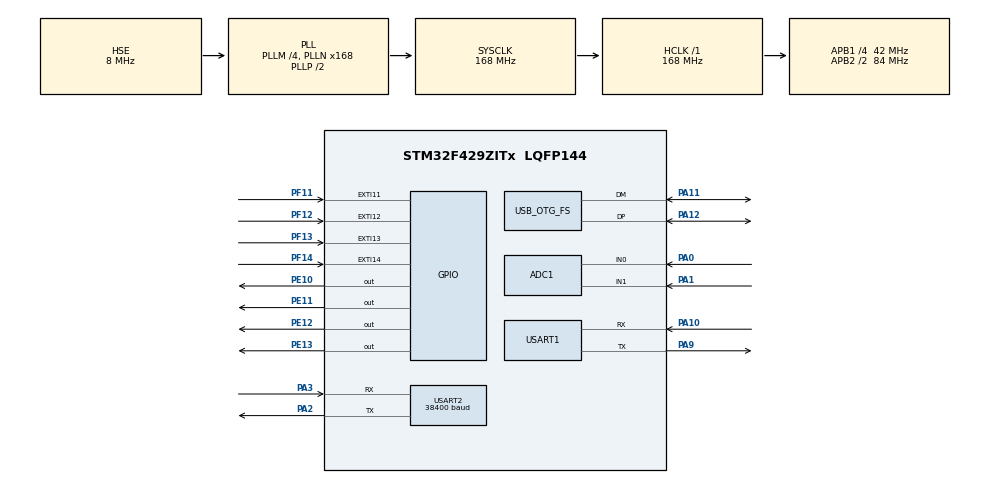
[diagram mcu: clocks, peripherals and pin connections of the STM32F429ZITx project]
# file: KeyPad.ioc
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Mcu.Family=STM32F4
USB_DEVICE.CLASS_NAME_FS=CUSTOM_HID
VP_SYS_VS_tim6.Mode=TIM6
RCC.CortexFreq_Value=168000000
NVIC.TIM6_DAC_IRQn=true\:0\:0\:false\:false\:true\:false\:false\:true
VP_USB_DEVICE_VS_USB_DEVICE_CUSTOM_HID_FS.Mode=CUSTOM_HID_FS
PA11.Mode=Device_Only
PA0/WKUP.Signal=ADCx_IN0
PE10.GPIO_PuPd=GPIO_PULLDOWN
Dma.USART2_RX.1.MemDataAlignment=DMA_MDATAALIGN_BYTE
RCC.SYSCLKSource=RCC_SYSCLKSOURCE_PLLCLK
ProjectManager.StackSize=0x600
VP_FREERTOS_VS_CMSIS_V2.Mode=CMSIS_V2
PA12.Signal=USB_OTG_FS_DP
PE11.GPIO_PuPd=GPIO_PULLDOWN
PF11.GPIO_PuPd=GPIO_PULLDOWN
PH0/OSC_IN.Mode=HSE-External-Clock-Source
RCC.HCLKFreq_Value=168000000
RCC.APB2TimFreq_Value=168000000
Dma.ADC1.0.Direction=DMA_PERIPH_TO_MEMORY
PF12.Signal=GPXTI12
PH1/OSC_OUT.Signal=RCC_OSC_OUT
Dma.USART2_RX.1.PeriphInc=DMA_PINC_DISABLE
NVIC.DMA2_Stream0_IRQn=true\:5\:0\:false\:false\:true\:true\:false\:true
Dma.USART2_RX.1.MemInc=DMA_MINC_ENABLE
Dma.ADC1.0.MemDataAlignment=DMA_MDATAALIGN_WORD
RCC.AHBFreq_Value=168000000
NVIC.EXTI15_10_IRQn=true\:5\:0\:false\:false\:true\:true\:true\:true
ADC1.Channel-0\#ChannelRegularConversion=ADC_CHANNEL_0
RCC.HSE_VALUE=8000000
PB3.Mode=Trace_Asynchronous_SW
ADC1.ScanConvMode=ENABLE
PE13.GPIO_PuPd=GPIO_PULLDOWN
TIM8.Channel-Output\ Compare1\ No\ Output=TIM_CHANNEL_1
PE13.Signal=GPIO_Output
PA14.Mode=Trace_Asynchronous_SW
PF11.Signal=GPXTI11
Dma.ADC1.0.PeriphInc=DMA_PINC_DISABLE
SH.ADCx_IN0.0=ADC1_IN0,IN0
PE10.GPIO_Speed=GPIO_SPEED_FREQ_HIGH
PH1/OSC_OUT.Mode=HSE-External-Clock-Source
PE10.Signal=GPIO_Output
PF14.GPIO_PuPd=GPIO_PULLDOWN
ADC1.SamplingTime-0\#ChannelRegularConversion=ADC_SAMPLETIME_3CYCLES
Mcu.Package=LQFP144
NVIC.TimeBase=TIM6_DAC_IRQn
USART2.VirtualMode=VM_ASYNC
USB_DEVICE.USBD_CUSTOM_HID_REPORT_DESC_SIZE-CUSTOM_HID_FS=187
NVIC.OTG_FS_IRQn=true\:5\:0\:false\:false\:true\:true\:false\:true
NVIC.TimeBaseIP=TIM6
PA10.Signal=USART1_RX
USB_OTG_FS.VirtualMode=Device_Only
PE12.GPIO_Speed=GPIO_SPEED_FREQ_HIGH
TIM8.Prescaler=168-1
RCC.APB2CLKDivider=RCC_HCLK_DIV2
SH.ADCx_IN1.0=ADC1_IN1,IN1
PF14.Signal=GPXTI14
Dma.Request1=USART2_RX
RCC.APB1TimFreq_Value=84000000
Dma.ADC1.0.FIFOMode=DMA_FIFOMODE_DISABLE
Dma.USART2_RX.1.Mode=DMA_CIRCULAR
Dma.Request0=ADC1
PA3.Signal=USART2_RX
PE12.GPIO_PuPd=GPIO_PULLDOWN
Dma.USART2_RX.1.Priority=DMA_PRIORITY_LOW
Dma.ADC1.0.Instance=DMA2_Stream0
FREERTOS.Tasks01=defaultTask,24,128,StartDefaultTask,Default,NULL,Dynamic,NULL,NULL
ADC1.Rank-0\#ChannelRegularConversion=1
Dma.USART2_RX.1.FIFOMode=DMA_FIFOMODE_DISABLE
PA10.Mode=Asynchronous
USB_DEVICE.VirtualModeFS=Custom_Hid_FS
PE11.GPIO_Speed=GPIO_SPEED_FREQ_HIGH
RCC.APB1CLKDivider=RCC_HCLK_DIV4
NVIC.USART2_IRQn=true\:5\:0\:false\:false\:true\:true\:true\:true
USART2.BaudRate=38400
PA13.Signal=SYS_JTMS-SWDIO
PA3.Mode=Asynchronous
Dma.ADC1.0.PeriphDataAlignment=DMA_PDATAALIGN_WORD
PA9.Mode=Asynchronous
NVIC.TIM8_CC_IRQn=true\:5\:0\:false\:false\:true\:true\:true\:true
ProjectManager.TargetToolchain=STM32CubeIDE
NVIC.DMA1_Stream5_IRQn=true\:5\:0\:false\:false\:true\:true\:false\:true
Dma.ADC1.0.Mode=DMA_CIRCULAR
Dma.ADC1.0.Priority=DMA_PRIORITY_LOW
PA9.Signal=USART1_TX
ADC1.Channel-1\#ChannelRegularConversion=ADC_CHANNEL_1
VP_TIM8_VS_ClockSourceINT.Mode=Internal
PE11.Signal=GPIO_Output
RCC.LSE_VALUE=32768
PA1.Signal=ADCx_IN1
Dma.USART2_RX.1.Instance=DMA1_Stream5
Dma.USART2_RX.1.Direction=DMA_PERIPH_TO_MEMORY
VP_TIM8_VS_no_output1.Mode=Output Compare1 No Output
Dma.USART2_RX.1.PeriphDataAlignment=DMA_PDATAALIGN_BYTE
board=STM32F429I-DISC1
RCC.VCOOutputFreq_Value=336000000
PF13.GPIO_PuPd=GPIO_PULLDOWN
PH0/OSC_IN.Signal=RCC_OSC_IN
RCC.APB2Freq_Value=84000000
PF13.Signal=GPXTI13
ADC1.DMAContinuousRequests=ENABLE
ADC1.NbrOfConversion=2
PA13.Mode=Trace_Asynchronous_SW
Mcu.Name=STM32F429ZITx
PE12.Signal=GPIO_Output
PA2.Signal=USART2_TX
ADC1.ExternalTrigConv=ADC_EXTERNALTRIGCONV_T8_TRGO
TIM8.Period=6500
RCC.48MHZClocksFreq_Value=48000000
PB3.Signal=SYS_JTDO-SWO
ADC1.SamplingTime-1\#ChannelRegularConversion=ADC_SAMPLETIME_3CYCLES
RCC.SYSCLKFreq_VALUE=168000000
ADC1.master=1
PA12.Mode=Device_Only
TIM8.TIM_MasterOutputTrigger=TIM_TRGO_UPDATE
USB_DEVICE.VirtualMode-CUSTOM_HID_FS=CustomHid
USART1.VirtualMode=VM_ASYNC
ADC1.Rank-1\#ChannelRegularConversion=2
PA11.Signal=USB_OTG_FS_DM
PA14.Signal=SYS_JTCK-SWCLK
Dma.ADC1.0.MemInc=DMA_MINC_ENABLE
ProjectManager.HeapSize=0x600
RCC.HSI_VALUE=16000000
RCC.PLLQ=7
NVIC.PriorityGroup=NVIC_PRIORITYGROUP_4
ADC1.NbrOfConversionFlag=1
RCC.PLLM=4
RCC.PLLN=168
PE13.GPIO_Speed=GPIO_SPEED_FREQ_HIGH
PA2.Mode=Asynchronous
PF12.GPIO_PuPd=GPIO_PULLDOWN
RCC.APB1Freq_Value=42000000

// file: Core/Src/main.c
/* USER CODE BEGIN Header */
/**
  ******************************************************************************
  * @file           : main.c
  * @brief          : Main program body
  ******************************************************************************
  * @attention
  *
  * <h2><center>&copy; Copyright (c) 2021 STMicroelectronics.
  * All rights reserved.</center></h2>
  *
  * This software component is licensed by ST under BSD 3-Clause license,
  * the "License"; You may not use this file except in compliance with the
  * License. You may obtain a copy of the License at:
  *                        opensource.org/licenses/BSD-3-Clause
  *
  ******************************************************************************
  */
/* USER CODE END Header */
#include "main.h"
#include "cmsis_os.h"
#include "adc.h"
#include "dma.h"
#include "tim.h"
#include "usart.h"
#include "usb_device.h"
#include "gpio.h"

/* USER CODE BEGIN Includes */
#include <stdbool.h>
#include <string.h>
#include "retarget.h"
#include "usbd_customhid.h"

/* USER CODE END Includes */

/* USER CODE BEGIN PD */

uint8_t		USBbuffer[8];	/* the sending buffer to host */
uint32_t 	JOYRes[2];     /* hold the ADC measured value */
uint8_t 	CapsLock =0X82 ;  /* Hold The Caps lock state to generate Capital  letter */

extern USBD_HandleTypeDef hUsbDeviceFS;

/*variable to  hold all modifiers */
volatile union {
	struct {
	uint8_t LeftCTRL    	: 1 ;
	uint8_t LeftSHIFT    	: 1 ;
	uint8_t LeftALT   		: 1 ;
	uint8_t LeftGUI    		: 1 ;
	uint8_t RightCTRL     	: 1 ;
	uint8_t RightSHIFT    	: 1 ;
	uint8_t RightALT   		: 1 ;
	uint8_t RightGUI     	: 1 ;
	}Buttons;
	uint8_t AllModifiers  ;
}MoifiersButtons;

/* USER CODE END PD */

/* USER CODE BEGIN PM */
#define HC05TaskDataReady_Flag_BIT			0x01u
#define KeyPadTaskDataReady_Flag_BIT		0x02u
/* USER CODE END PM */

/* USER CODE BEGIN PV */

/* hint it's useful to make all global var in your app as volatile actually not all var only that may be change in interrupt
 * but to make my code reliable i made it for all on the other hand  this reduce the performance a little bit but
 * a void hidden bugs that generate when your compiler optimize your code you can search for volatile keyword
 * usage for more information
 */
volatile uint8_t CharKey =0 ,KeyPadEquivelant[2] ={0},KeyPadAscii[2] ;

/* structure to group all KeyPad related variables */
volatile struct KeyPad_t {
uint8_t Key  ;
bool  status ;
char KeyChar[16];
}KeyPad = {.Key = 0, .status = false , .KeyChar = { /* initialize KeyPad with meaning Key ascii */
		'1','2','3','A',
		'4','5','6','B',
		'7','8','9','C',
		'*','0','#','D'
}
};

volatile uint8_t AsciiChar[3] ; /* used to receive char from uart connected with HC-05 minimun message receivced is 3 char (char + '\r + '\n') */
volatile uint8_t KeyBoardChar[100]; /* used to hold the converted characters */
volatile uint8_t ReceivedString[100];/* hold the received message and terminate this with null char */

  /* USER CODE BEGIN 0 */

/* USER CODE END PV */

void SystemClock_Config(void);
void MX_FREERTOS_Init(void);

/* USER CODE BEGIN 0 */

/* USER CODE END PV */

/* Private function prototypes -----------------------------------------------*/
void SystemClock_Config(void);
void MX_FREERTOS_Init(void);
/* USER CODE BEGIN PFP */

/* USER CODE END PFP */

/* Private user code ---------------------------------------------------------*/
/* USER CODE BEGIN 0 */

/* USER CODE END PV */

/* Private function prototypes -----------------------------------------------*/
void SystemClock_Config(void);
void MX_FREERTOS_Init(void);
/* USER CODE BEGIN PFP */

/* USER CODE END PFP */

/* Private user code ---------------------------------------------------------*/
/* USER CODE BEGIN 0 */

/* USER CODE END PV */

/* Private function prototypes -----------------------------------------------*/
void SystemClock_Config(void);
void MX_FREERTOS_Init(void);
/* USER CODE BEGIN PFP */

/* USER CODE END PFP */

/* Private user code ---------------------------------------------------------*/
/* USER CODE BEGIN 0 */

/* USER CODE END PV */

/* Private function prototypes -----------------------------------------------*/
void SystemClock_Config(void);
/* USER CODE BEGIN PFP */

/* USER CODE END PFP */

/* Private user code ---------------------------------------------------------*/
/* USER CODE BEGIN 0 */

/* USER CODE END PV */

/* Private function prototypes -----------------------------------------------*/
void SystemClock_Config(void);
/* USER CODE BEGIN PFP */

/* USER CODE END PFP */

/* Private user code ---------------------------------------------------------*/
/* USER CODE BEGIN 0 */

/* USER CODE END PV */

/* Private function prototypes -----------------------------------------------*/
void SystemClock_Config(void);
void MX_FREERTOS_Init(void);
/* USER CODE BEGIN PFP */

/* USER CODE END PFP */

/* Private user code ---------------------------------------------------------*/
/* USER CODE BEGIN 0 */

/* USER CODE END PV */

/* Private function prototypes -----------------------------------------------*/
void SystemClock_Config(void);
void MX_FREERTOS_Init(void);
/* USER CODE BEGIN PFP */

/* USER CODE END PFP */

/* Private user code ---------------------------------------------------------*/
/* USER CODE BEGIN 0 */

osSemaphoreId_t	HC05SemaHandle;
const osSemaphoreAttr_t HC05Sema_attributes = {
		/* set name for debugging information */
  .name = "HC05Sema_attributes"
};

/* for joy stick this will implemented next version */
osSemaphoreId_t	KeyPadSemaHandle;
const osSemaphoreAttr_t KeyPadSema_attributes = {
		/* set name for debugging information */
  .name = "KeyPadSemaphore"
};

osThreadId_t MainTaskHandle;
const osThreadAttr_t MainTasK_Attr ={
		.name = "MainTask" ,
		.stack_size =256 * 4 ,
		.priority =  (osPriority_t) osPriorityHigh2
};

osThreadId_t HC05TaskHandle;
const osThreadAttr_t HC05TasK_Attr  ={
		.name = "Hc05Task" ,
		.stack_size =256 * 4 ,
		.priority =  (osPriority_t) osPriorityHigh1
};

osThreadId_t KeyPadTaskHandle;
const osThreadAttr_t KeyPadTasK_Attr  ={
		.name = "KeyPadTask" ,
		.stack_size =256 * 4 ,
		.priority =  (osPriority_t) osPriorityHigh
};

void MainTask_Fun(void * arg);
void HC05Task_Fun(void * arg);
void KeyPadTask_Fun(void * arg);

/* this function used to convert char from Ascii code to USB usage code
 * also not all ascii is available by this function so for any unavailable
 * char will will avoid it right now  */
void GetKeyBoardEquivelant( uint8_t * AsciiChar ,uint8_t * KeyBoardChar);

/* USER CODE END PV */

/* Private function prototypes -----------------------------------------------*/
void SystemClock_Config(void);
/* USER CODE BEGIN PFP */

/* USER CODE END PFP */

/* Private user code ---------------------------------------------------------*/
/* USER CODE BEGIN 0 */

/* this function used to get keypressed char  */
void Get_Key(void)
{

	KeyPad.status = false ;
	HAL_GPIO_WritePin(GPIOE, GPIO_PIN_10, 1 );
	osDelay(1);
	HAL_GPIO_WritePin(GPIOE, GPIO_PIN_10, 0 );
	HAL_GPIO_WritePin(GPIOE, GPIO_PIN_11, 1 );
	osDelay(1);
	HAL_GPIO_WritePin(GPIOE, GPIO_PIN_11, 0 );
	HAL_GPIO_WritePin(GPIOE, GPIO_PIN_12, 1 );
	osDelay(1);
	HAL_GPIO_WritePin(GPIOE, GPIO_PIN_12, 0 );
	HAL_GPIO_WritePin(GPIOE, GPIO_PIN_13, 1 );
	osDelay(1);
	HAL_GPIO_WritePin(GPIOE, GPIO_PIN_13, 0 );
	if(KeyPad.status == false )
	{
		KeyPad.Key = 0 ;
		CharKey = 0 ;
	}

	/* check first if there is any valid pressed Key */
	  if(KeyPad.Key != 0)
	  CharKey = KeyPad.KeyChar[KeyPad.Key-1];

}

/* USER CODE END 0 */

int main(void)
{

  /* MCU Configuration--------------------------------------------------------*/

  /* Reset of all peripherals, Initializes the Flash interface and the Systick. */
  HAL_Init();

  /* Configure the system clock */
  SystemClock_Config();

  /* USER CODE BEGIN SysInit */
	MainTaskHandle = osThreadNew(MainTask_Fun, NULL, &MainTasK_Attr);

	HC05TaskHandle = osThreadNew(HC05Task_Fun, NULL, &HC05TasK_Attr);

	KeyPadTaskHandle = osThreadNew(KeyPadTask_Fun, NULL, &KeyPadTasK_Attr);

	HC05SemaHandle = osSemaphoreNew(1, 0, &HC05Sema_attributes);

	KeyPadTaskHandle = osSemaphoreNew(1, 0, &KeyPadSema_attributes);

  /* USER CODE END SysInit */

  /* Initialize all configured peripherals */
  MX_GPIO_Init();
  MX_DMA_Init();
  MX_ADC1_Init();
  MX_TIM8_Init();
  MX_USART1_UART_Init();
  MX_USART2_UART_Init();
  /* USER CODE BEGIN 2 */

 /* register uart1 to used by system calls printf and scanf */
  RetargetInit(&huart1);

  /* start timer 8 to work as trigger for ADC conversion */

  /* start TIM8 to generate periodic trigger event to capture anew ADC value */
  HAL_TIM_Base_Start(&htim8);

  /* start ADC and initialize it to work with DMA mode */

  /*initialize ADC to work with DMA when trigger event is received*/
  HAL_ADC_Start_DMA(&hadc1,&JOYRes, 2);

  /* USER CODE END 2 */

  /* Init scheduler */
  osKernelInitialize();  /* Call init function for freertos objects (in freertos.c) */
  MX_FREERTOS_Init();
  /* Start scheduler */
  osKernelStart();

  /* We should never get here as control is now taken by the scheduler */
  /* Infinite loop */
  while (1)
  {

  }
}

void SystemClock_Config(void)
{
  RCC_OscInitTypeDef RCC_OscInitStruct = {0};
  RCC_ClkInitTypeDef RCC_ClkInitStruct = {0};

  /** Configure the main internal regulator output voltage
  */
  __HAL_RCC_PWR_CLK_ENABLE();
  __HAL_PWR_VOLTAGESCALING_CONFIG(PWR_REGULATOR_VOLTAGE_SCALE1);
  /** Initializes the RCC Oscillators according to the specified parameters
  * in the RCC_OscInitTypeDef structure.
  */
  RCC_OscInitStruct.OscillatorType = RCC_OSCILLATORTYPE_HSE;
  RCC_OscInitStruct.HSEState = RCC_HSE_BYPASS;
  RCC_OscInitStruct.PLL.PLLState = RCC_PLL_ON;
  RCC_OscInitStruct.PLL.PLLSource = RCC_PLLSOURCE_HSE;
  RCC_OscInitStruct.PLL.PLLM = 4;
  RCC_OscInitStruct.PLL.PLLN = 168;
  RCC_OscInitStruct.PLL.PLLP = RCC_PLLP_DIV2;
  RCC_OscInitStruct.PLL.PLLQ = 7;
  if (HAL_RCC_OscConfig(&RCC_OscInitStruct) != HAL_OK)
  {
    Error_Handler();
  }
  /** Initializes the CPU, AHB and APB buses clocks
  */
  RCC_ClkInitStruct.ClockType = RCC_CLOCKTYPE_HCLK|RCC_CLOCKTYPE_SYSCLK
                              |RCC_CLOCKTYPE_PCLK1|RCC_CLOCKTYPE_PCLK2;
  RCC_ClkInitStruct.SYSCLKSource = RCC_SYSCLKSOURCE_PLLCLK;
  RCC_ClkInitStruct.AHBCLKDivider = RCC_SYSCLK_DIV1;
  RCC_ClkInitStruct.APB1CLKDivider = RCC_HCLK_DIV4;
  RCC_ClkInitStruct.APB2CLKDivider = RCC_HCLK_DIV2;

  if (HAL_RCC_ClockConfig(&RCC_ClkInitStruct, FLASH_LATENCY_5) != HAL_OK)
  {
    Error_Handler();
  }
}

/* USER CODE BEGIN 4 */

/* KEYPAD key is work through interrupt mode so here we only detect the Key pressed number
 */
void  HAL_GPIO_EXTI_Callback(uint16_t GPIO_Pin)
{

	KeyPad.status = false  ;
	if(GPIO_Pin == GPIO_PIN_11)
	{
		if(HAL_GPIO_ReadPin(GPIOE, GPIO_PIN_10))
			KeyPad.Key = 1	;

		if( HAL_GPIO_ReadPin(GPIOE, GPIO_PIN_11))
			KeyPad.Key = 2	;

		if(HAL_GPIO_ReadPin(GPIOE, GPIO_PIN_12))
			KeyPad.Key = 3	;

		if(HAL_GPIO_ReadPin(GPIOE, GPIO_PIN_13))
			KeyPad.Key = 4	;

	}
	else if(GPIO_Pin == GPIO_PIN_12)
	{
		if(HAL_GPIO_ReadPin(GPIOE, GPIO_PIN_10))

			KeyPad.Key = 5	;

		if( HAL_GPIO_ReadPin(GPIOE, GPIO_PIN_11))
			KeyPad.Key = 6	;

		if(HAL_GPIO_ReadPin(GPIOE, GPIO_PIN_12))
			KeyPad.Key = 7	;

		if(HAL_GPIO_ReadPin(GPIOE, GPIO_PIN_13))
			KeyPad.Key = 8	;

	}
	else if(GPIO_Pin == GPIO_PIN_13)
	{
		if(HAL_GPIO_ReadPin(GPIOE, GPIO_PIN_10))
			KeyPad.Key = 9	;

		if(HAL_GPIO_ReadPin(GPIOE, GPIO_PIN_11))
			KeyPad.Key = 10	;

		if(HAL_GPIO_ReadPin(GPIOE, GPIO_PIN_12))
			KeyPad.Key = 11	;

		if( HAL_GPIO_ReadPin(GPIOE, GPIO_PIN_13))
			KeyPad.Key = 12	;

	}
	else if(GPIO_Pin == GPIO_PIN_14)
	{
		if( HAL_GPIO_ReadPin(GPIOE, GPIO_PIN_10))
			KeyPad.Key = 13	;

		if( HAL_GPIO_ReadPin(GPIOE, GPIO_PIN_11))
			KeyPad.Key = 14	;

		if( HAL_GPIO_ReadPin(GPIOE, GPIO_PIN_12))
			KeyPad.Key = 15	;

		if( HAL_GPIO_ReadPin(GPIOE, GPIO_PIN_13))
			KeyPad.Key = 16	;

	}

	/* to inform the GETKEY function we have anew event so go to calculate the KEY equivalent value */
	KeyPad.status = true ;
}

/* main task that receive the char from bluetooth or from Keypad and send them to USB host*/
void MainTask_Fun(void * arg)
{
	uint8_t index =0 ;
	uint32_t flag =0 ; /* local var to  iterate over the string array */

	while(1)
	{
			//osSemaphoreAcquire(JOYSemaHandle, osWaitForever);
			osThreadFlagsWait(HC05TaskDataReady_Flag_BIT |KeyPadTaskDataReady_Flag_BIT , osFlagsWaitAny|osFlagsNoClear, osWaitForever);

			flag = osThreadFlagsGet();
			index =0 ;
			if(flag  ==  HC05TaskDataReady_Flag_BIT )
			{
				while(KeyBoardChar[index] != '\0') /* loop until send all char */
				{
				USBbuffer[0] = 	1;// MouseButtons.AllBits ;
				USBbuffer[1] = 	0 ; // modifiers
				USBbuffer[2] =  0 ;  // reserved
				USBbuffer[4] = 	KeyBoardChar[index++] ; //first key
				USBbuffer[3] = 	CapsLock ; //second key

				  USBD_CUSTOM_HID_SendReport(&hUsbDeviceFS, USBbuffer, 8);
				  osDelay(30); /* made so delay for next host request */

				  /* now send no event to prevent repetation */
				  USBbuffer[0] = 	1;// MouseButtons.AllBits ;
				  USBbuffer[1] = 	0 ; // modifiers
				  USBbuffer[2] =  	0 ;  // reserved
				  USBbuffer[3] = 	0; //first key
				  USBbuffer[4] = 	0; //second key
	              USBD_CUSTOM_HID_SendReport(&hUsbDeviceFS, USBbuffer, 8);

	    		  osDelay(30); /* need another  delay because the possibility of iteration */
				}

				CapsLock =0X82;
	    		osThreadFlagsClear(HC05TaskDataReady_Flag_BIT);

				/* clear buffers to make it clear from garbage values */
				memset(KeyBoardChar , 0 , sizeof(KeyBoardChar));
				memset(ReceivedString , 0, sizeof(ReceivedString));
			}
			else if(flag  ==   KeyPadTaskDataReady_Flag_BIT) /* here Keypad return a notification */
			{
				USBbuffer[0] = 	1;// MouseButtons.AllBits ;
				USBbuffer[1] = 	0 ; // modifiers
				USBbuffer[2] =  0 ;  // reserved
				USBbuffer[4] = 	KeyPadEquivelant[0] ; //first key
				USBbuffer[3] = 	CapsLock ; //second key

				  USBD_CUSTOM_HID_SendReport(&hUsbDeviceFS, USBbuffer, 8);

				  osDelay(20); /* made so delay for next host request */
				CapsLock =0X82;
				  /* now send no event to prevent repetation */
				  USBbuffer[0] = 	1;// MouseButtons.AllBits ;
				  USBbuffer[1] = 	0 ; // modifiers
				  USBbuffer[2] =  	0 ;  // reserved
				  USBbuffer[3] = 	0; //first key
				  USBbuffer[4] = 	0; //second key

	              USBD_CUSTOM_HID_SendReport(&hUsbDeviceFS, USBbuffer, 8);
	    		  osThreadFlagsClear(KeyPadTaskDataReady_Flag_BIT);

	    		  memset(KeyPadEquivelant , 0 , sizeof(KeyPadEquivelant));

				}

			}

}

 void HC05Task_Fun(void * arg)
{

	 while(1)
	{
		/* first receive character from bluetooth */
		HAL_UART_Receive_IT(&huart2, AsciiChar, 1) ;

		/*  wait until semaphore is released from uart that indicate the full message is received and start your processing  on it */
		osSemaphoreAcquire(HC05SemaHandle, osWaitForever);

		/* get the equivalent vakues for the received string */
		GetKeyBoardEquivelant( ReceivedString , KeyBoardChar);

		/* send notification for main task that you have anew message ready to send to host */
		osThreadFlagsSet(MainTaskHandle, HC05TaskDataReady_Flag_BIT);

	}

}

 /* Keypad task this driver work with keypad and hc05 */
void KeyPadTask_Fun(void * arg)
{
	while(1)
	{
		/* till the processor come here and made a busy wait state */
			while(CharKey == 0)
			{
				Get_Key();
			}

			KeyPadAscii[0] = CharKey ;
			KeyPadAscii[1] = 0 ;

			KeyPadEquivelant[0] = 0 ;
			GetKeyBoardEquivelant(KeyPadAscii,KeyPadEquivelant);

			osThreadFlagsSet(MainTaskHandle, KeyPadTaskDataReady_Flag_BIT);

			/* clear for next check */
			CharKey =0;

			/* make some delay to free up the processor useful in low power mode */
			osDelay(20);

	}

}

void GetKeyBoardEquivelant( uint8_t * AsciiChar ,uint8_t * KeyBoardChar)
{

	uint8_t IndexAscii =0 , IndexKeyboard = 0   ;

	while(AsciiChar[IndexAscii] != '\0' )
	{

	/* because the difference between ascii code and usage table for keyboard we here need to make a tons of checks */
	if((AsciiChar[IndexAscii] >= 97)&&(AsciiChar[IndexAscii] <= 122)) /* small letter */
	{
		/*we need to clear  caps lock */
		KeyBoardChar[IndexKeyboard] =  AsciiChar[IndexAscii] - 93 ;
	}
	else if((AsciiChar[IndexAscii] >= 65)&&(AsciiChar[IndexAscii] <= 90))/* capital letter */
	{
		/*we need to set capslock */

		CapsLock = 0x39 ;/* send caps lock to type capital letter  an screen */
		KeyBoardChar[IndexKeyboard] = AsciiChar[IndexAscii] - 61;
	}
	else if((AsciiChar[IndexAscii] >= 49)&&(AsciiChar[IndexAscii] <= 57)) /* num from 1 - 9 */
	{
		/*we need to clear capslock */
		KeyBoardChar[IndexKeyboard] =  AsciiChar[IndexAscii] - 19;

	}
	else if(AsciiChar[IndexAscii] == '\n' ) /* new line converted to enter key */
	{
		/*we need to clear capslock */
		KeyBoardChar[IndexKeyboard] = 88 ;
	}
	else if(AsciiChar[IndexAscii] == ' ' ) /* new line converted to enter key */
	{
		/*we need to clear capslock */
		KeyBoardChar[IndexKeyboard] = 44 ;
	}
	else if(AsciiChar[IndexAscii] == 48) /* num 0 */
	{
		/*we need to clear capslock */
		KeyBoardChar[IndexKeyboard] = 39 ;
	}
	else if(AsciiChar[IndexAscii] == '*') /* num 0 */
	{
		/*we need to clear capslock */
		KeyBoardChar[IndexKeyboard] = 85 ;
	}
	else if(AsciiChar[IndexAscii] == '#') /* num 0 */
	{
		/*we need to clear capslock */
		KeyBoardChar[IndexKeyboard] = 204 ;
	}
	else /* still unsupported characters by this driver */
	{
		IndexKeyboard--; /* just to escape this character because it still not supported */
	}

	/* go to next char */
	IndexAscii++;
	IndexKeyboard++;
	}

	/* terminate with NULL char */
	KeyBoardChar[IndexKeyboard] = 0 ;

}

 void HAL_UART_RxCpltCallback(UART_HandleTypeDef *huart)
{
	 static uint8_t index=0;

		/* every message received from bluetooth end with new line character */
	 if(AsciiChar[0]!= '\n')
	 {
		 ReceivedString[index++] = AsciiChar[0];
		 	 HAL_UART_Receive_IT(&huart2, AsciiChar, 1) ;
	 }

	/* call back function when complete DMA receive release the semaphore */
	else
	{
		ReceivedString[index] = 0; /* null terminate character */

		index=0;/* clear static ver */

		/* release semaphore to make HC-05 resume */
		osSemaphoreRelease(HC05SemaHandle) ;
	}

}

/* USER CODE END 4 */

 /**
  * @brief  Period elapsed callback in non blocking mode
  * @note   This function is called  when TIM6 interrupt took place, inside
  * HAL_TIM_IRQHandler(). It makes a direct call to HAL_IncTick() to increment
  * a global variable "uwTick" used as application time base.
  * @param  htim : TIM handle
  * @retval None
  */
void HAL_TIM_PeriodElapsedCallback(TIM_HandleTypeDef *htim)
{
  if (htim->Instance == TIM6) {
    HAL_IncTick();
  }
}

void Error_Handler(void)
{
  __disable_irq();
  while (1)
  {
  }
}

/************************ (C) COPYRIGHT STMicroelectronics *****END OF FILE****/
